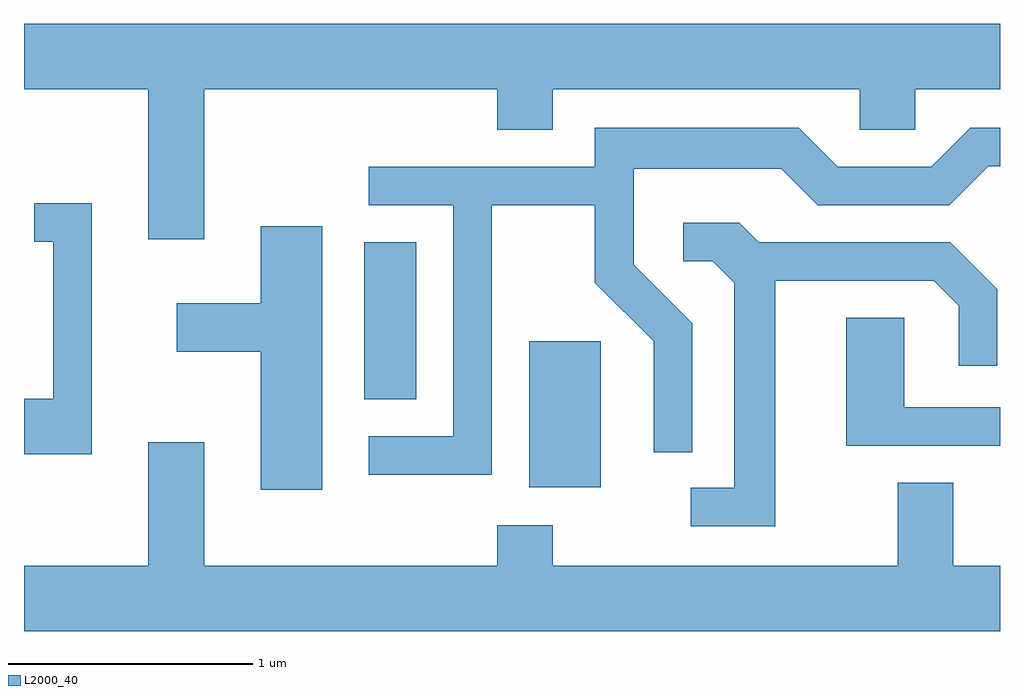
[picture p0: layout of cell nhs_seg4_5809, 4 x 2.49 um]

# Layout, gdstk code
import gdstk
lib = gdstk.Library(unit=1e-6, precision=1e-09)
def R(c, l, rs):  # rectangles x0, y0, x1, y1
    for r in rs: c.add(gdstk.rectangle(r[:2], r[2:], *l))
def P(c, l, *ps):  # polygons
    for p in ps: c.add(gdstk.Polygon(p, *l))
L2000_40 = (2000, 40)

nhs_seg4_5809 = lib.new_cell('nhs_seg4_5809')
R(nhs_seg4_5809, L2000_40, [(357.681,1313.086,357.974,1313.684), (357.006,1313.446,357.219,1314.089)])
P(nhs_seg4_5809, L2000_40, [(356.349,1314.716),(357.551,1314.716),(357.551,1314.551),(357.779,1314.551),(357.779,1314.716),(359.036,1314.716),(359.036,1314.551),(359.264,1314.551),(359.264,1314.716),(359.611,1314.716),(359.611,1314.984),(355.611,1314.984),(355.611,1314.716),(356.121,1314.716),(356.121,1314.101),(356.349,1314.101)],
  [(357.529,1314.241),(357.951,1314.241),(357.951,1313.924),(358.191,1313.684),(358.191,1313.228),(358.349,1313.228),(358.349,1313.757),(358.109,1313.997),(358.109,1314.391),(358.714,1314.391),(358.864,1314.241),(359.402,1314.241),(359.562,1314.401),(359.611,1314.401),(359.611,1314.559),(359.489,1314.559),(359.329,1314.399),(358.947,1314.399),(358.787,1314.559),(357.951,1314.559),(357.951,1314.399),(357.023,1314.399),(357.023,1314.241),(357.371,1314.241),(357.371,1313.294),(357.023,1313.294),(357.023,1313.136),(357.529,1313.136)],
  [(355.889,1314.249),(355.653,1314.249),(355.653,1314.091),(355.731,1314.091),(355.731,1313.449),(355.611,1313.449),(355.611,1313.221),(355.889,1313.221)],
  [(358.689,1313.931),(359.339,1313.931),(359.441,1313.829),(359.441,1313.583),(359.599,1313.583),(359.599,1313.897),(359.407,1314.089),(358.622,1314.089),(358.542,1314.169),(358.313,1314.169),(358.313,1314.011),(358.434,1314.011),(358.521,1313.924),(358.521,1313.084),(358.343,1313.084),(358.343,1312.926),(358.689,1312.926)],
  [(356.834,1314.154),(356.581,1314.154),(356.581,1313.839),(356.236,1313.839),(356.236,1313.641),(356.581,1313.641),(356.581,1313.076),(356.834,1313.076)],
  [(359.611,1313.414),(359.219,1313.414),(359.219,1313.779),(358.981,1313.779),(358.981,1313.256),(359.611,1313.256)],
  [(359.611,1312.764),(359.419,1312.764),(359.419,1313.104),(359.191,1313.104),(359.191,1312.764),(357.779,1312.764),(357.779,1312.929),(357.551,1312.929),(357.551,1312.764),(356.349,1312.764),(356.349,1313.269),(356.121,1313.269),(356.121,1312.764),(355.611,1312.764),(355.611,1312.496),(359.611,1312.496)])

lib.write_gds('nhs_seg4_5809.gds')
